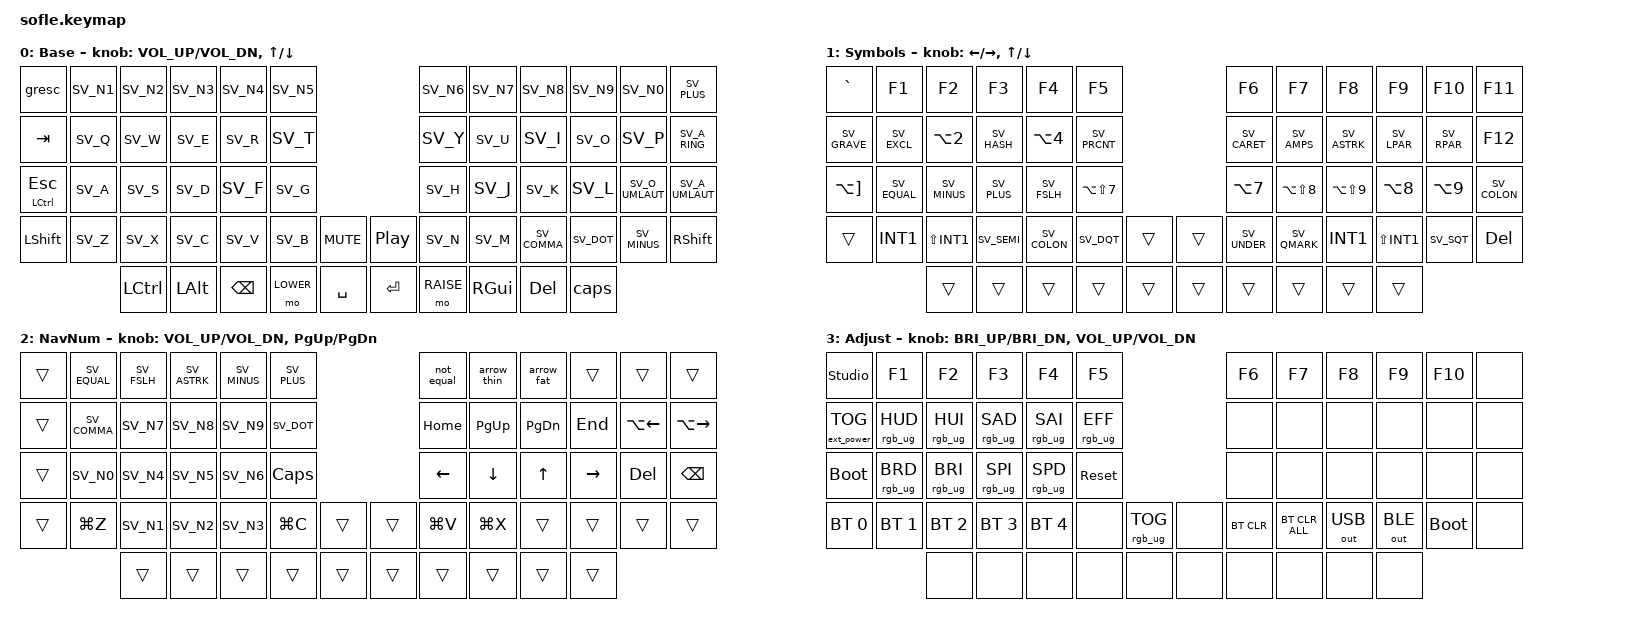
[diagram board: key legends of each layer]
/*
 * Copyright (c) 2020 The ZMK Contributors
 *
 * SPDX-License-Identifier: MIT
 */
#include "keys_sv.h"
#include <behaviors.dtsi>
#include <dt-bindings/zmk/bt.h>
#include <dt-bindings/zmk/ext_power.h>
#include <dt-bindings/zmk/keys.h>
#include <dt-bindings/zmk/outputs.h>
#include <dt-bindings/zmk/pointing.h>
#include <dt-bindings/zmk/rgb.h>

// Encoders & LEDs (matching base config without forcing status = "okay")
&led_strip { chain-length = <30>; };

&sensors { triggers-per-rotation = <30>; };

&left_encoder { steps = <60>; };

&right_encoder { steps = <60>; };

// Responsive Tap-Hold tuning for Neovim Ctrl/Esc
&mt {
    tapping-term-ms = <175>;
    quick-tap-ms = <150>;
    flavor = "balanced";
};

#define BASE   0
#define LOWER  1
#define RAISE  2
#define ADJUST 3

/ {
    conditional_layers {
        compatible = "zmk,conditional-layers";

        adjust_layer {
            if-layers = <LOWER RAISE>;
            then-layer = <ADJUST>;
        };
    };

    combos {
        compatible = "zmk,combos";

        // J + K = Escape (instant Normal mode)
        vim_esc {
            bindings = <&kp ESCAPE>;
            key-positions = <31 32>;
            timeout-ms = <40>;
        };

        // K + L = Backspace (right home row)
        backspace {
            bindings = <&kp BACKSPACE>;
            key-positions = <32 33>;
            timeout-ms = <40>;
        };

        // Left Shift + Right Shift = CAPS_WORD
        caps_word_combo {
            bindings = <&caps>;
            key-positions = <24 49>;
        };
    };

    macros {
        // -> (Python type hints / R)
        arrow_thin: arrow_thin {
            compatible = "zmk,behavior-macro";
            #binding-cells = <0>;
            bindings = <&kp SV_MINUS &kp LS(INT1)>;
        };

        // => (Arrow functions / JS / Scala)
        arrow_fat: arrow_fat {
            compatible = "zmk,behavior-macro";
            #binding-cells = <0>;
            bindings = <&kp SV_EQUAL &kp LS(INT1)>;
        };

        // != (SQL / Python / Lua inequality)
        not_equal: not_equal {
            compatible = "zmk,behavior-macro";
            #binding-cells = <0>;
            bindings = <&kp SV_EXCL &kp SV_EQUAL>;
        };
    };

    behaviors {
        caps: caps {
            compatible = "zmk,behavior-caps-word";
            label = "CAPS";
            #binding-cells = <0>;
            continue-list = <POUND MINUS BACKSPACE UNDERSCORE>;
        };
    };

    keymap {
        compatible = "zmk,keymap";

        default_layer {
            display-name = "Base";

            // |  ESC  |  1  |  2  |  3   |  4   |  5   |               |  6   |  7    |  8    |  9   |   0   |   +   |
            // |  TAB  |  Q  |  W  |  E   |  R   |  T   |               |  Y   |  U    |  I    |  O   |   P   |   Å   |
            // |CTL/ESC|  A  |  S  |  D   |  F   |  G   |               |  H   |  J    |  K    |  L   |   Ö   |   Ä   |
            // | SHIFT |  Z  |  X  |  C   |  V   |  B   | MUTE | | PLAY |  N   |  M    |  ,    |  .   |   -   | SHIFT |
            //               | CTRL| ALT  | BSPC | LOWER| SPACE| | ENTER| RAISE| CMD   | DEL   | CAPS |

            bindings = <
&gresc          &kp SV_N1  &kp SV_N2  &kp SV_N3  &kp SV_N4  &kp SV_N5                                 &kp SV_N6  &kp SV_N7  &kp SV_N8     &kp SV_N9    &kp SV_N0        &kp SV_PLUS
&kp TAB         &kp SV_Q   &kp SV_W   &kp SV_E   &kp SV_R   &kp SV_T                                  &kp SV_Y   &kp SV_U   &kp SV_I      &kp SV_O     &kp SV_P         &kp SV_A_RING
&mt LCTRL ESC   &kp SV_A   &kp SV_S   &kp SV_D   &kp SV_F   &kp SV_G                                  &kp SV_H   &kp SV_J   &kp SV_K      &kp SV_L     &kp SV_O_UMLAUT  &kp SV_A_UMLAUT
&kp LEFT_SHIFT  &kp SV_Z   &kp SV_X   &kp SV_C   &kp SV_V   &kp SV_B   &kp C_MUTE    &kp C_PLAY_PAUSE &kp SV_N   &kp SV_M   &kp SV_COMMA  &kp SV_DOT   &kp SV_MINUS     &kp RSHFT
                           &kp LCTRL  &kp LALT   &kp BSPC   &mo LOWER  &kp SPACE     &kp ENTER        &mo RAISE  &kp RGUI   &kp DEL       &caps
            >;

            sensor-bindings = <&inc_dec_kp C_VOL_UP C_VOL_DN &inc_dec_kp UP DOWN>;
        };

        lower_layer {
            display-name = "Symbols";

            // |  §    |  F1 |  F2 |  F3  |  F4  |  F5  |               |  F6  |  F7   |  F8   |  F9  |  F10  |  F11  |
            // |  `    |  !  |  @  |  #   |  $   |  %   |               |  ^   |  &    |  *    |  (   |   )   |  F12  |
            // |  ~    |  =  |  -  |  +   |  /   |  \   |               |  |   |  {    |  }    |  [   |   ]   |   :   |
            // | trans |  <  |  >  |  ;   |  :   |  "   | trans| | trans|  _   |  ?    |  <    |  >   |   '   |  DEL  |
            //               |trans| trans| trans| trans| trans| | trans| trans| trans | trans | trans|

            bindings = <
&kp GRAVE      &kp F1        &kp F2        &kp F3        &kp F4        &kp F5                          &kp F6         &kp F7         &kp F8         &kp F9         &kp F10       &kp F11
&kp SV_GRAVE   &kp SV_EXCL   &kp LA(N2)    &kp SV_HASH   &kp LA(N4)    &kp SV_PRCNT                    &kp SV_CARET   &kp SV_AMPS    &kp SV_ASTRK   &kp SV_LPAR    &kp SV_RPAR   &kp F12
&kp LA(RBKT)   &kp SV_EQUAL  &kp SV_MINUS  &kp SV_PLUS   &kp SV_FSLH   &kp LA(LS(N7))                  &kp LA(N7)     &kp LA(LS(N8)) &kp LA(LS(N9)) &kp LA(N8)     &kp LA(N9)    &kp SV_COLON
&trans         &kp INT1      &kp LS(INT1)  &kp SV_SEMI   &kp SV_COLON  &kp SV_DQT    &trans    &trans  &kp SV_UNDER   &kp SV_QMARK   &kp INT1       &kp LS(INT1)   &kp SV_SQT    &kp DELETE
                             &trans        &trans        &trans        &trans        &trans    &trans  &trans         &trans         &trans         &trans
            >;

            sensor-bindings =
                <&inc_dec_kp LEFT_ARROW RIGHT_ARROW>,
                <&inc_dec_kp UP_ARROW DOWN_ARROW>;
        };

        raise_layer {
            display-name = "NavNum";

            // | trans |  =  |  /  |  *   |  -   |  +   |               |  !=  |  ->   |  =>   | trans| trans | trans |
            // | trans |  ,  |  7  |  8   |  9   |  .   |               | HOME | PGUP  | PGDN  | END  | WRD<- | WRD-> |
            // | trans |  0  |  4  |  5   |  6   | CAPS |               |  <-  |   v   |   ^   |  ->  |  DEL  | BKSPC |
            // | trans | UNDO|  1  |  2   |  3   | COPY | trans| | trans| PASTE|  CUT  | trans | trans| trans | trans |
            //               |trans| trans| trans| trans| trans| | trans| trans| trans | trans | trans|

            bindings = <
&trans  &kp SV_EQUAL  &kp SV_FSLH  &kp SV_ASTRK  &kp SV_MINUS  &kp SV_PLUS                     &not_equal  &arrow_thin  &arrow_fat  &trans        &trans        &trans
&trans  &kp SV_COMMA  &kp SV_N7    &kp SV_N8     &kp SV_N9     &kp SV_DOT                      &kp HOME    &kp PG_UP    &kp PG_DN   &kp END       &kp LA(LEFT)  &kp LA(RIGHT)
&trans  &kp SV_N0     &kp SV_N4    &kp SV_N5     &kp SV_N6     &kp CLCK                        &kp LEFT    &kp DOWN     &kp UP      &kp RIGHT     &kp DEL       &kp BSPC
&trans  &kp LG(Z)     &kp SV_N1    &kp SV_N2     &kp SV_N3     &kp LG(C)     &trans    &trans  &kp LG(V)   &kp LG(X)    &trans      &trans        &trans        &trans
                      &trans       &trans        &trans        &trans        &trans    &trans  &trans      &trans       &trans        &trans
            >;

            sensor-bindings = <&inc_dec_kp C_VOL_UP C_VOL_DN &inc_dec_kp PG_UP PG_DN>;
        };

        adjust_layer {
            display-name = "Adjust";

            // |STUDIO |  F1 |  F2 |  F3  |  F4  |  F5  |               |  F6  |  F7   |  F8   |  F9  |  F10  | none  |
            // |EXTPWR |RGBHD|RGBHI|RGBSD |RGBSI |RGBEF |               | none | none  | none  | none | none  | none  |
            // |BOOTLDR|RGBBD|RGBBI|RGBSP |RGBSD |SYSRST|               | none | none  | none  | none | none  | none  |
            // |  BT0  | BT1 | BT2 | BT3  | BT4  | none |RGBTOG| | none | BTCLR|BTCLRA |  USB  |  BLE |BOOTLDR| none  |
            //               |none | none | none | none | none | | none | none | none  | none  | none |

            bindings = <
&studio_unlock    &kp F1          &kp F2          &kp F3          &kp F4          &kp F5                                          &kp F6     &kp F7         &kp F8        &kp F9       &kp F10     &none
&ext_power EP_TOG &rgb_ug RGB_HUD &rgb_ug RGB_HUI &rgb_ug RGB_SAD &rgb_ug RGB_SAI &rgb_ug RGB_EFF                                 &none      &none          &none         &none        &none       &none
&bootloader       &rgb_ug RGB_BRD &rgb_ug RGB_BRI &rgb_ug RGB_SPI &rgb_ug RGB_SPD &sys_reset                                      &none      &none          &none         &none        &none       &none
&bt BT_SEL 0      &bt BT_SEL 1    &bt BT_SEL 2    &bt BT_SEL 3    &bt BT_SEL 4    &none            &rgb_ug RGB_TOG    &none       &bt BT_CLR &bt BT_CLR_ALL &out OUT_USB  &out OUT_BLE &bootloader &none
                                  &none           &none           &none           &none            &none              &none       &none      &none          &none         &none
            >;

            sensor-bindings = <&inc_dec_kp C_BRI_UP C_BRI_DN &inc_dec_kp C_VOL_UP C_VOL_DN>;
        };
    };
};
